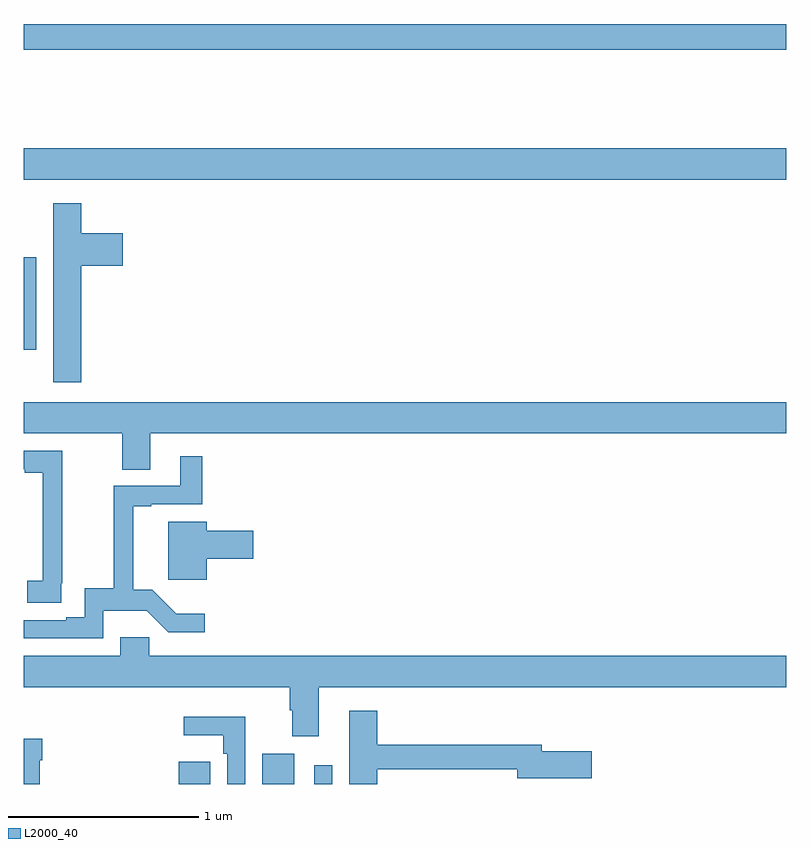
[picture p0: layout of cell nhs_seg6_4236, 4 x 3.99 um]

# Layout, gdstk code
import gdstk
lib = gdstk.Library(unit=1e-6, precision=1e-09)
def R(c, l, rs):  # rectangles x0, y0, x1, y1
    for r in rs: c.add(gdstk.rectangle(r[:2], r[2:], *l))
def P(c, l, *ps):  # polygons
    for p in ps: c.add(gdstk.Polygon(p, *l))
L2000_40 = (2000, 40)

nhs_seg6_4236 = lib.new_cell('nhs_seg6_4236')
R(nhs_seg6_4236, L2000_40, [(361.814,941.5,361.978,941.617), (362.252,941.5,362.419,941.659), (362.523,941.5,362.619,941.599), (361,943.779,361.065,944.263), (361,944.672,365,944.836), (361,945.352,365,945.488)])
P(nhs_seg6_4236, L2000_40, [(361.301,944.219),(361.519,944.219),(361.519,944.389),(361.301,944.389),(361.301,944.548),(361.154,944.548),(361.154,943.608),(361.301,943.608)],
  [(361.663,943.34),(365,943.34),(365,943.504),(361,943.504),(361,943.34),(361.516,943.34),(361.516,943.15),(361.663,943.15)],
  [(361.196,942.553),(361.202,942.553),(361.202,943.248),(361,943.248),(361,943.152),(361.004,943.152),(361.004,943.132),(361.1,943.132),(361.1,942.849),(361.099,942.849),(361.099,942.566),(361.017,942.566),(361.017,942.451),(361.196,942.451)],
  [(361.416,942.41),(361.645,942.41),(361.758,942.297),(361.948,942.297),(361.948,942.394),(361.799,942.394),(361.673,942.52),(361.574,942.52),(361.574,942.957),(361.669,942.957),(361.669,942.969),(361.937,942.969),(361.937,943.219),(361.82,943.219),(361.82,943.065),(361.471,943.065),(361.471,942.527),(361.32,942.527),(361.32,942.374),(361.223,942.374),(361.223,942.36),(361,942.36),(361,942.264),(361.416,942.264)],
  [(361.96,942.683),(362.203,942.683),(362.203,942.83),(361.96,942.83),(361.96,942.877),(361.757,942.877),(361.757,942.572),(361.96,942.572)],
  [(362.548,942.008),(365,942.008),(365,942.172),(361.657,942.172),(361.657,942.27),(361.505,942.27),(361.505,942.172),(361,942.172),(361,942.008),(362.396,942.008),(362.396,941.888),(362.408,941.888),(362.408,941.751),(362.548,941.751)],
  [(362.855,941.578),(363.59,941.578),(363.59,941.531),(363.979,941.531),(363.979,941.673),(363.718,941.673),(363.718,941.707),(362.855,941.707),(362.855,941.884),(362.708,941.884),(362.708,941.5),(362.855,941.5)],
  [(362.163,941.854),(361.839,941.854),(361.839,941.756),(362.047,941.756),(362.047,941.66),(362.067,941.66),(362.067,941.5),(362.163,941.5)],
  [(361.084,941.624),(361.097,941.624),(361.097,941.737),(361,941.737),(361,941.5),(361.084,941.5)])

lib.write_gds('nhs_seg6_4236.gds')
